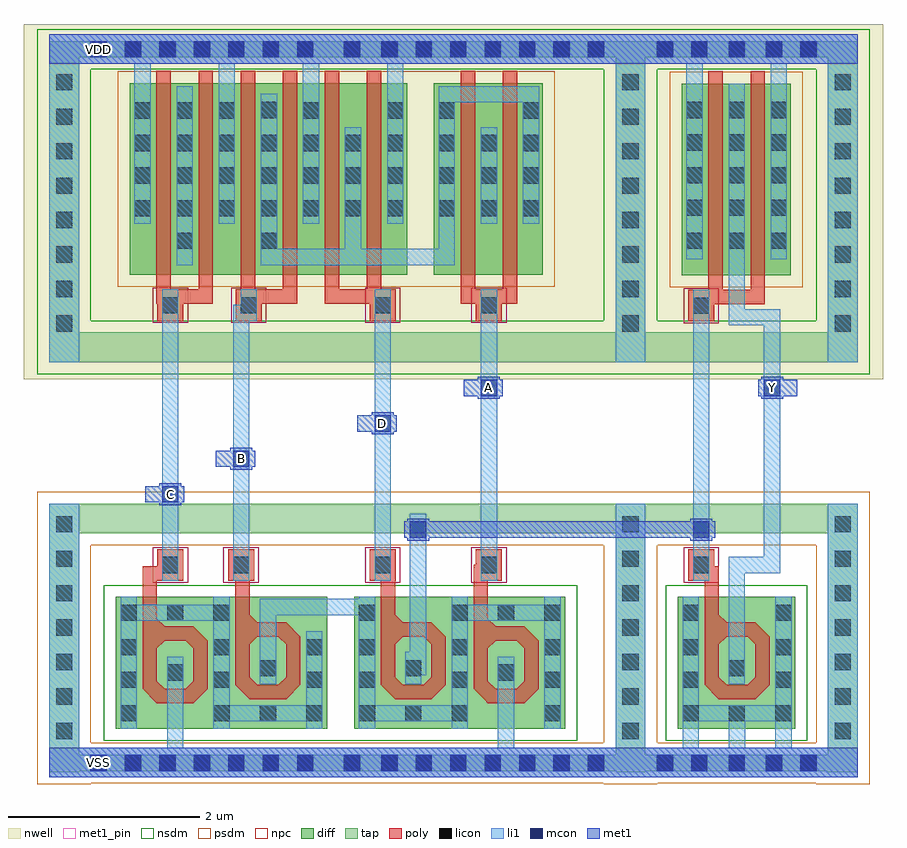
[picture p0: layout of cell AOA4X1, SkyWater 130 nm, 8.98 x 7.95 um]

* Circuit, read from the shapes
.subckt AOA4X1 A B C D VDD VSS Y
XM1 n1 C VSS VSS sky130_fd_pr__nfet_01v8 w=2.6 l=0.1462
XM2 n1 B n2 VSS sky130_fd_pr__nfet_01v8 w=2.56 l=0.147
XM3 n2 D n3 VSS sky130_fd_pr__nfet_01v8 w=2.56 l=0.1496
XM4 n2 A VSS VSS sky130_fd_pr__nfet_01v8 w=2.6 l=0.1487
XM5 VSS n3 Y VSS sky130_fd_pr__nfet_01v8 w=2.56 l=0.1468
XM6 n4 C VDD VDD sky130_fd_pr__pfet_01v8 w=2 l=0.15 m=2
XM7 n5 B VDD VDD sky130_fd_pr__pfet_01v8 w=2 l=0.15 m=2
XM8 n5 D VDD VDD sky130_fd_pr__pfet_01v8 w=2 l=0.15 m=2
XM9 n6 A n5 VDD sky130_fd_pr__pfet_01v8 w=2 l=0.15 m=2
XM10 Y n3 VDD VDD sky130_fd_pr__pfet_01v8 w=2 l=0.15 m=2
.ends

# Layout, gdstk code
import gdstk
lib = gdstk.Library(unit=1e-6, precision=1e-09)
def R(c, l, rs):  # rectangles x0, y0, x1, y1
    for r in rs: c.add(gdstk.rectangle(r[:2], r[2:], *l))
def A(c, l, x, y, w, h, nx, ny, dx, dy):  # array of equal rectangles
    R(c, l, [(x+i*dx, y+j*dy, x+i*dx+w, y+j*dy+h) for i in range(nx) for j in range(ny)])
def P(c, l, *ps):  # polygons
    for p in ps: c.add(gdstk.Polygon(p, *l))
nwell = (64, 20)
diff = (65, 20)
tap = (65, 44)
poly = (66, 20)
licon = (66, 44)
li1 = (67, 20)
mcon = (67, 44)
met1_pin = (68, 16)
met1 = (68, 20)
nsdm = (93, 44)
psdm = (94, 20)
npc = (95, 20)

aoa4x1 = lib.new_cell('AOA4X1')
R(aoa4x1, nwell, [(-0.42,4.16,8.56,7.875)])
R(aoa4x1, diff, [(0.54,0.505,2.75,1.885), (3.03,0.505,5.24,1.885), (6.415,0.505,7.645,1.885), (6.455,5.25,7.595,7.25), (0.685,5.255,3.585,7.255), (3.865,5.255,5.005,7.255)])
R(aoa4x1, tap, [(-0.155,0.055,0.155,0.065), (5.765,0.055,6.075,0.065), (7.985,0.055,8.295,0.065), (-0.155,0.065,8.295,0.235), (-0.155,0.235,0.155,2.55), (5.765,0.235,6.075,2.55), (7.985,0.235,8.295,2.55), (-0.155,2.55,8.295,2.86), (-0.155,4.34,8.295,4.65), (-0.155,4.65,0.155,7.525), (5.765,4.65,6.075,7.525), (7.985,4.65,8.295,7.525), (-0.155,7.525,8.295,7.695)])
A(aoa4x1, poly, 0.965, 5.1, 0.15, 2.285, 6, 1, 0.44, 0)
R(aoa4x1, poly, [(0.97,0.775,1.35,0.925), (4.43,0.775,4.81,0.815), (1.94,0.815,2.32,0.965), (3.46,0.815,3.84,0.965), (4.39,0.815,4.81,0.925), (6.845,0.815,7.225,0.965), (0.82,0.925,0.97,1.43), (1.35,0.925,1.5,1.43), (4.28,0.925,4.43,1.43), (4.81,0.925,4.96,1.43), (1.79,0.965,1.94,1.47), (2.32,0.965,2.47,1.47), (3.31,0.965,3.46,1.47), (3.84,0.965,3.99,1.47), (6.695,0.965,6.845,1.47), (7.225,0.965,7.375,1.47), (0.82,1.43,1.35,1.58), (4.28,1.43,4.81,1.58), (1.79,1.47,2.32,1.62), (3.31,1.47,3.84,1.62), (6.695,1.47,7.225,1.62), (0.82,1.58,0.97,2.055), (4.28,1.58,4.43,2.055), (1.79,1.62,1.94,2.055), (3.31,1.62,3.46,2.055), (6.695,1.62,6.845,2.055), (0.82,2.055,1.245,2.205), (1.715,2.055,1.985,2.385), (3.195,2.055,3.465,2.385), (4.28,2.055,4.575,2.22), (6.525,2.055,6.845,2.205), (0.975,2.205,1.245,2.385), (6.525,2.205,6.795,2.385), (4.305,2.22,4.575,2.385), (6.525,4.765,6.795,4.945), (0.975,4.77,1.245,4.95), (1.795,4.77,2.065,4.95), (3.195,4.77,3.465,4.95), (4.305,4.77,4.575,4.95), (6.525,4.945,7.325,5.095), (0.965,4.95,1.555,5.1), (1.795,4.95,2.435,5.1), (2.725,4.95,3.465,5.1), (4.145,4.95,4.735,5.1), (6.735,5.095,6.885,7.38), (7.175,5.095,7.325,7.38), (4.145,5.1,4.295,7.385), (4.585,5.1,4.735,7.385)])
P(aoa4x1, poly, [(0.97,1.66),(0.97,1.58),(1.05,1.58)],
  [(1.94,1.7),(1.94,1.62),(2.02,1.62)],
  [(3.46,1.7),(3.46,1.62),(3.54,1.62)],
  [(1.35,1.58),(1.35,1.43),(1.5,1.43)],
  [(0.97,1.35),(0.97,1.43),(1.05,1.43)],
  [(1.27,1.43),(1.35,1.43),(1.35,1.35)],
  [(0.97,1.005),(0.97,0.925),(1.05,0.925)],
  [(1.27,0.925),(1.35,0.925),(1.35,1.005)],
  [(0.82,0.925),(0.97,0.925),(0.97,0.775)],
  [(1.35,0.775),(1.35,0.925),(1.5,0.925)],
  [(2.32,1.62),(2.32,1.47),(2.47,1.47)],
  [(1.94,1.39),(1.94,1.47),(2.02,1.47)],
  [(2.24,1.47),(2.32,1.47),(2.32,1.39)],
  [(1.94,1.045),(1.94,0.965),(2.02,0.965)],
  [(2.24,0.965),(2.32,0.965),(2.32,1.045)],
  [(1.79,0.965),(1.94,0.965),(1.94,0.815)],
  [(2.32,0.815),(2.32,0.965),(2.47,0.965)],
  [(3.84,1.62),(3.84,1.47),(3.99,1.47)],
  [(3.46,1.39),(3.46,1.47),(3.54,1.47)],
  [(3.76,1.47),(3.84,1.47),(3.84,1.39)],
  [(3.46,1.045),(3.46,0.965),(3.54,0.965)],
  [(3.76,0.965),(3.84,0.965),(3.84,1.045)],
  [(3.31,0.965),(3.46,0.965),(3.46,0.815)],
  [(3.84,0.815),(3.84,0.965),(3.99,0.965)],
  [(4.43,1.66),(4.43,1.58),(4.51,1.58)],
  [(6.845,1.7),(6.845,1.62),(6.925,1.62)],
  [(4.81,1.58),(4.81,1.43),(4.96,1.43)],
  [(4.43,1.35),(4.43,1.43),(4.51,1.43)],
  [(4.73,1.43),(4.81,1.43),(4.81,1.35)],
  [(4.43,1.005),(4.43,0.925),(4.51,0.925)],
  [(4.73,0.925),(4.81,0.925),(4.81,1.005)],
  [(4.28,0.925),(4.39,0.925),(4.39,0.815)],
  [(4.39,0.815),(4.43,0.815),(4.43,0.775)],
  [(4.81,0.775),(4.81,0.925),(4.96,0.925)],
  [(7.225,1.62),(7.225,1.47),(7.375,1.47)],
  [(6.845,1.39),(6.845,1.47),(6.925,1.47)],
  [(7.145,1.47),(7.225,1.47),(7.225,1.39)],
  [(6.845,1.045),(6.845,0.965),(6.925,0.965)],
  [(7.145,0.965),(7.225,0.965),(7.225,1.045)],
  [(6.695,0.965),(6.845,0.965),(6.845,0.815)],
  [(7.225,0.815),(7.225,0.965),(7.375,0.965)])
A(aoa4x1, licon, 0.275, 0.065, 0.17, 0.17, 7, 2, 0.36, 7.46)
A(aoa4x1, licon, 3.315, 0.065, 0.17, 0.17, 7, 2, 0.36, 7.46)
A(aoa4x1, licon, 6.555, 0.065, 0.17, 0.17, 3, 2, 0.39, 7.46)
A(aoa4x1, licon, -0.085, 0.4, 0.17, 0.17, 1, 7, 0, 0.36)
A(aoa4x1, licon, 5.835, 0.4, 0.17, 0.17, 1, 7, 0, 0.36)
A(aoa4x1, licon, 8.055, 0.4, 0.17, 0.17, 1, 7, 0, 0.36)
A(aoa4x1, licon, 1.56, 0.585, 0.17, 0.17, 3, 1, 0.485, 0)
A(aoa4x1, licon, 3.08, 0.585, 0.17, 0.17, 3, 1, 0.485, 0)
A(aoa4x1, licon, 0.59, 0.935, 0.17, 0.17, 3, 2, 0.97, 0.34)
A(aoa4x1, licon, 3.08, 0.935, 0.17, 0.17, 3, 2, 0.97, 0.34)
A(aoa4x1, licon, 0.59, 1.635, 0.17, 0.17, 3, 1, 0.485, 0)
A(aoa4x1, licon, 4.05, 1.635, 0.17, 0.17, 3, 1, 0.485, 0)
A(aoa4x1, licon, -0.085, 4.66, 0.17, 0.17, 1, 8, 0, 0.36)
A(aoa4x1, licon, 5.835, 4.66, 0.17, 0.17, 1, 8, 0, 0.36)
A(aoa4x1, licon, 8.055, 4.66, 0.17, 0.17, 1, 8, 0, 0.36)
A(aoa4x1, licon, 6.505, 5.525, 0.17, 0.17, 3, 2, 0.44, 0.345)
A(aoa4x1, licon, 0.735, 5.865, 0.17, 0.17, 7, 3, 0.44, 0.34)
A(aoa4x1, licon, 3.915, 5.865, 0.17, 0.17, 3, 3, 0.44, 0.34)
A(aoa4x1, licon, 6.505, 6.21, 0.17, 0.17, 3, 3, 0.44, 0.34)
A(aoa4x1, licon, 0.735, 6.885, 0.17, 0.17, 3, 1, 0.44, 0)
R(aoa4x1, licon, [(2.925,0.065,3.095,0.235), (6.195,0.065,6.365,0.235), (7.695,0.065,7.865,0.235), (0.59,0.585,0.76,0.755), (5.02,0.585,5.19,0.755), (6.465,0.585,6.635,0.755), (6.945,0.585,7.115,0.755), (7.435,0.585,7.605,0.755), (6.465,0.935,6.635,1.105), (7.435,0.935,7.605,1.105), (1.075,1.01,1.245,1.18), (4.535,1.01,4.705,1.18), (2.045,1.055,2.215,1.225), (3.565,1.055,3.735,1.225), (6.945,1.055,7.115,1.225), (6.465,1.275,6.635,1.445), (7.435,1.275,7.605,1.445), (3.08,1.635,3.25,1.805), (6.465,1.635,6.635,1.805), (7.435,1.635,7.605,1.805), (1.025,2.135,1.195,2.305), (1.765,2.135,1.935,2.305), (3.245,2.135,3.415,2.305), (4.355,2.135,4.525,2.305), (6.575,2.135,6.745,2.305), (6.575,4.845,6.745,5.015), (1.025,4.85,1.195,5.02), (1.845,4.85,2.015,5.02), (3.245,4.85,3.415,5.02), (4.355,4.85,4.525,5.02), (1.175,5.525,1.345,5.695), (2.055,5.525,2.225,5.695), (2.495,6.885,2.665,7.055), (3.375,6.885,3.545,7.055), (3.915,6.885,4.085,7.055), (4.795,6.885,4.965,7.055), (2.055,6.89,2.225,7.06), (2.925,7.525,3.095,7.695), (6.195,7.525,6.365,7.695), (7.695,7.525,7.865,7.695)])
A(aoa4x1, li1, 6.465, 0.31, 0.17, 0.275, 3, 1, 0.485, 0)
A(aoa4x1, li1, 0.735, 5.785, 0.17, 1.675, 4, 1, 0.88, 0)
R(aoa4x1, li1, [(-0.155,0,8.295,0.31), (-0.155,0.31,0.155,2.86), (1.075,0.31,1.245,1.26), (4.535,0.31,4.705,1.26), (5.765,0.31,6.075,2.86), (7.985,0.31,8.295,2.86), (0.59,0.505,0.76,1.635), (1.56,0.505,1.73,0.585), (2.53,0.505,2.7,0.585), (3.08,0.505,3.25,0.585), (4.05,0.505,4.22,0.585), (5.02,0.505,5.19,1.635), (1.56,0.585,2.7,0.755), (3.08,0.585,4.22,0.755), (6.465,0.585,7.605,0.755), (1.56,0.755,1.73,1.635), (2.53,0.755,2.7,1.525), (3.08,0.755,3.25,1.695), (4.05,0.755,4.22,1.635), (6.465,0.755,6.635,1.885), (7.435,0.755,7.605,1.885), (2.045,0.975,2.215,1.695), (3.565,0.975,3.735,1.065), (6.945,0.975,7.115,2.135), (3.565,1.065,3.785,1.31), (3.615,1.31,3.785,2.755), (0.59,1.635,1.73,1.805), (4.05,1.635,5.19,1.805), (2.045,1.695,3.25,1.865), (0.59,1.805,0.76,1.885), (1.56,1.805,1.73,1.885), (4.05,1.805,4.22,1.885), (5.02,1.805,5.19,1.885), (3.08,1.865,3.25,1.885), (1.025,2.055,1.195,5.1), (1.765,2.055,1.935,4.77), (3.245,2.055,3.415,5.1), (4.355,2.055,4.525,5.1), (6.575,2.055,6.745,5.095), (6.945,2.135,7.485,2.305), (7.315,2.305,7.485,4.725), (-0.155,4.34,0.155,7.46), (5.765,4.34,6.075,7.46), (7.985,4.34,8.295,7.46), (6.945,4.725,7.485,4.895), (1.765,4.77,2.015,4.94), (6.945,4.895,7.115,7.25), (1.845,4.94,2.015,5.1), (1.175,5.355,1.345,7.225), (2.055,5.355,4.085,5.525), (6.505,5.415,6.675,7.46), (7.385,5.415,7.555,7.46), (2.055,5.525,2.225,7.145), (2.935,5.525,3.105,6.795), (3.915,5.525,4.085,7.055), (4.355,5.785,4.525,6.795), (4.795,5.785,4.965,7.055), (3.915,7.055,4.965,7.225), (-0.155,7.46,8.295,7.77)])
A(aoa4x1, mcon, 0.275, 0.065, 0.17, 0.17, 7, 2, 0.36, 7.46)
A(aoa4x1, mcon, 3.315, 0.065, 0.17, 0.17, 7, 2, 0.36, 7.46)
A(aoa4x1, mcon, 6.555, 0.065, 0.17, 0.17, 3, 2, 0.39, 7.46)
R(aoa4x1, mcon, [(2.925,0.065,3.095,0.235), (6.195,0.065,6.365,0.235), (7.695,0.065,7.865,0.235), (3.615,2.505,3.785,2.675), (6.575,2.505,6.745,2.675), (1.025,2.875,1.195,3.045), (1.765,3.245,1.935,3.415), (3.245,3.615,3.415,3.785), (4.355,3.985,4.525,4.155), (7.315,3.985,7.485,4.155), (2.925,7.525,3.095,7.695), (6.195,7.525,6.365,7.695), (7.695,7.525,7.865,7.695)])
R(aoa4x1, met1_pin, [(0.275,0.065,0.445,0.235), (1.025,2.875,1.195,3.045), (1.765,3.245,1.935,3.415), (3.245,3.615,3.415,3.785), (4.355,3.985,4.525,4.155), (7.315,3.985,7.485,4.155), (0.275,7.525,0.445,7.695)])
R(aoa4x1, met1, [(-0.155,0,8.295,0.31), (3.585,2.475,3.815,2.505), (6.545,2.475,6.775,2.505), (3.555,2.505,6.805,2.675), (3.585,2.675,3.815,2.705), (6.545,2.675,6.775,2.705), (0.995,2.845,1.225,2.875), (0.845,2.875,1.255,3.045), (0.995,3.045,1.225,3.075), (1.735,3.215,1.965,3.245), (1.585,3.245,1.995,3.415), (1.735,3.415,1.965,3.445), (3.215,3.585,3.445,3.615), (3.065,3.615,3.475,3.785), (3.215,3.785,3.445,3.815), (4.325,3.955,4.555,3.985), (7.285,3.955,7.515,3.985), (4.175,3.985,4.585,4.155), (7.255,3.985,7.665,4.155), (4.325,4.155,4.555,4.185), (7.285,4.155,7.515,4.185), (-0.155,7.46,8.295,7.77)])
R(aoa4x1, nsdm, [(0.415,0.38,5.365,2.01), (6.29,0.38,7.77,2.01), (-0.28,4.215,8.42,4.775), (-0.28,4.775,0.28,7.4), (5.64,4.775,6.2,7.4), (7.86,4.775,8.42,7.4), (-0.28,7.4,8.42,7.82)])
R(aoa4x1, psdm, [(-0.28,-0.07,0.28,-0.06), (5.64,-0.07,6.2,-0.06), (7.86,-0.07,8.42,-0.06), (-0.28,-0.06,8.42,0.36), (-0.28,0.36,0.28,2.425), (5.64,0.36,6.2,2.425), (7.86,0.36,8.42,2.425), (-0.28,2.425,8.42,2.985), (6.33,5.125,7.72,7.375), (0.56,5.13,5.13,7.38)])
R(aoa4x1, npc, [(0.925,2.035,1.295,2.405), (1.665,2.035,2.035,2.405), (3.145,2.035,3.515,2.405), (4.255,2.035,4.625,2.405), (6.475,2.035,6.845,2.405), (6.475,4.745,6.845,5.115), (0.925,4.75,1.295,5.12), (1.745,4.75,2.115,5.12), (3.145,4.75,3.515,5.12), (4.255,4.75,4.625,5.12)])
aoa4x1.add(gdstk.Label('Y', (7.4,4.07), layer=68, texttype=16))
aoa4x1.add(gdstk.Label('A', (4.44,4.07), layer=68, texttype=16))
aoa4x1.add(gdstk.Label('B', (1.85,3.33), layer=68, texttype=16))
aoa4x1.add(gdstk.Label('C', (1.11,2.96), layer=68, texttype=16))
aoa4x1.add(gdstk.Label('D', (3.33,3.7), layer=68, texttype=16))
aoa4x1.add(gdstk.Label('VDD', (0.36,7.61), layer=68, texttype=16))
aoa4x1.add(gdstk.Label('VSS', (0.36,0.15), layer=68, texttype=16))

lib.write_gds('AOA4X1.gds')
